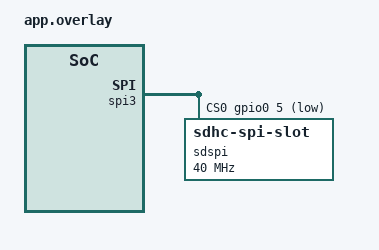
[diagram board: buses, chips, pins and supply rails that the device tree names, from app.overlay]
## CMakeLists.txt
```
cmake_minimum_required(VERSION 3.20.0)

find_package(Zephyr REQUIRED HINTS $ENV{ZEPHYR_BASE})
project(hlv_player_zephyr C)

target_sources(app PRIVATE src/main.c)
```

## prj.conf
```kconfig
# Run Zephyr as a two-core microkernel and allow explicit thread affinity.
CONFIG_SMP=y
CONFIG_MP_MAX_NUM_CPUS=2
CONFIG_SCHED_CPU_MASK=y
CONFIG_THREAD_NAME=y

# Zephyr's speed preset is -O2. The custom option is appended to every
# compilation unit, including the kernel, and deliberately raises it to -O3.
CONFIG_SPEED_OPTIMIZATIONS=y
CONFIG_COMPILER_OPT="-O3"

CONFIG_MAIN_STACK_SIZE=3072
CONFIG_SYSTEM_WORKQUEUE_STACK_SIZE=2048

CONFIG_CONSOLE=y
CONFIG_SERIAL=y
CONFIG_UART_CONSOLE=y
CONFIG_PRINTK=y
CONFIG_LOG=y
CONFIG_LOG_DEFAULT_LEVEL=3

CONFIG_GPIO=y
CONFIG_SPI=y
CONFIG_DISK_ACCESS=y
CONFIG_FILE_SYSTEM=y
CONFIG_FAT_FILESYSTEM_ELM=y
CONFIG_FS_FATFS_LFN=y
CONFIG_FS_FATFS_MAX_LFN=255

# The ESP32-2432S028 has no external PSRAM despite the DevKitC board model.
CONFIG_ESP_SPIRAM=n

# Keep the initial profile focused on scheduling, storage, decode and render.
CONFIG_WIFI=n
CONFIG_BT=n
```

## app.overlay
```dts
#include <zephyr/dt-bindings/gpio/gpio.h>

&i2c0 {
	status = "disabled";
};

&wifi {
	status = "disabled";
};

&esp32_bt_hci {
	status = "disabled";
};

/*
 * ESP32-2432S028 microSD connector:
 * SCK=18, MOSI=23, MISO=19 and CS=5. The DevKitC SPI3 pinctrl already
 * describes the three data pins; only the board-specific chip select is
 * supplied here.
 *
 * Zephyr's SD SPI stack sends CMD59 to enable card-side CRC, verifies CRC16
 * after every block read, and emits/checks CRC responses for block writes.
 */
&spi3 {
	status = "okay";
	cs-gpios = <&gpio0 5 GPIO_ACTIVE_LOW>;

	sdspi: sdhc@0 {
		compatible = "zephyr,sdhc-spi-slot";
		reg = <0>;
		status = "okay";
		spi-max-frequency = <40000000>;

		sdcard: mmc {
			compatible = "zephyr,sdmmc-disk";
			disk-name = "SD";
			status = "okay";
		};
	};
};
```

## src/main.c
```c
/*
 * Zephyr SMP bring-up for the ESP32-2432S028 HLV player.
 *
 * This intentionally starts with a small microkernel profile: a control/I/O
 * thread pinned to CPU0 and a future decoder thread pinned to CPU1. Threads
 * share the address space, while Zephyr owns preemption, affinity and IPC.
 */

#include <errno.h>
#include <stdint.h>
#include <string.h>

#include <ff.h>
#include <zephyr/fs/fs.h>
#include <zephyr/kernel.h>
#include <zephyr/storage/disk_access.h>
#include <zephyr/sys/atomic.h>

#define CONTROL_STACK_SIZE 4096
#define DECODER_STACK_SIZE 3072
#define CONTROL_PRIORITY 4
#define DECODER_PRIORITY 3
#define SD_DRIVE_NAME "SD"
#define SD_MOUNT_POINT "/SD:"

K_THREAD_STACK_DEFINE(control_stack, CONTROL_STACK_SIZE);
K_THREAD_STACK_DEFINE(decoder_stack, DECODER_STACK_SIZE);

static struct k_thread control_thread;
static struct k_thread decoder_thread;
static K_SEM_DEFINE(decoder_tick, 0, 1);
static atomic_t decoder_counter;
static atomic_t decoder_cpu = ATOMIC_INIT(-1);
static FATFS fat_fs;
static struct fs_mount_t sd_mount = {
	.type = FS_FATFS,
	.fs_data = &fat_fs,
	.storage_dev = (void *)SD_DRIVE_NAME,
	.mnt_point = SD_MOUNT_POINT,
};

static void print_play_list(void)
{
	struct fs_file_t file;
	char contents[160];
	ssize_t count;
	int result;

	fs_file_t_init(&file);
	result = fs_open(&file, SD_MOUNT_POINT "/play.txt", FS_O_READ);
	if (result != 0) {
		printk("HLVZ SD play.txt unavailable: %d\n", result);
		return;
	}

	count = fs_read(&file, contents, sizeof(contents) - 1U);
	if (count < 0) {
		printk("HLVZ SD play.txt read failed: %d\n", (int)count);
	} else {
		contents[count] = '\0';
		printk("HLVZ SD play.txt bytes=%d value=%s\n", (int)count,
		       contents);
	}
	(void)fs_close(&file);
}

static int mount_sd(void)
{
	uint32_t block_count = 0U;
	uint32_t block_size = 0U;
	uint64_t capacity_mib;
	int result;

	result = disk_access_ioctl(SD_DRIVE_NAME, DISK_IOCTL_CTRL_INIT, NULL);
	if (result != 0) {
		printk("HLVZ SD init failed: %d\n", result);
		return result;
	}
	result = disk_access_ioctl(SD_DRIVE_NAME, DISK_IOCTL_GET_SECTOR_COUNT,
				   &block_count);
	if (result != 0) {
		printk("HLVZ SD sector-count failed: %d\n", result);
		return result;
	}
	result = disk_access_ioctl(SD_DRIVE_NAME, DISK_IOCTL_GET_SECTOR_SIZE,
				   &block_size);
	if (result != 0) {
		printk("HLVZ SD sector-size failed: %d\n", result);
		return result;
	}

	result = fs_mount(&sd_mount);
	if (result != 0) {
		printk("HLVZ SD mount failed: %d\n", result);
		return result;
	}

	capacity_mib = ((uint64_t)block_count * block_size) >> 20;
	printk("HLVZ SD READY blocks=%u block_size=%u capacity_mib=%u\n",
	       block_count, block_size, (uint32_t)capacity_mib);
	printk("HLVZ SD CRC CMD59=ON READ_CRC16=VERIFY WRITE_CRC16=ON\n");
	print_play_list();
	return 0;
}

static void decoder_entry(void *first, void *second, void *third)
{
	uint32_t state = 0x2432A028U;

	ARG_UNUSED(first);
	ARG_UNUSED(second);
	ARG_UNUSED(third);

	atomic_set(&decoder_cpu, arch_curr_cpu()->id);
	for (;;) {
		/* Placeholder work keeps the CPU1 execution path observable. */
		for (uint32_t index = 0U; index < 4096U; ++index) {
			state = (state << 5) ^ (state >> 2) ^ index;
		}
		atomic_inc(&decoder_counter);
		k_sem_give(&decoder_tick);
		k_sleep(K_MSEC(50));
	}
}

static void control_entry(void *first, void *second, void *third)
{
	uint32_t last_report = 0U;
	int sd_result;

	ARG_UNUSED(first);
	ARG_UNUSED(second);
	ARG_UNUSED(third);

	printk("HLVZ BOOT Zephyr SMP cpus=%d control_cpu=%d decoder_cpu_target=1\n",
	       arch_num_cpus(), arch_curr_cpu()->id);
	sd_result = mount_sd();
	printk("HLVZ SERVICES audio=OFF uart=OFF display=OFF sd=%s\n",
	       sd_result == 0 ? "READY" : "ERROR");

	for (;;) {
		if (k_sem_take(&decoder_tick, K_SECONDS(2)) != 0) {
			printk("HLVZ IPC decoder timeout\n");
			continue;
		}
		const uint32_t current = (uint32_t)atomic_get(&decoder_counter);

		if (current - last_report >= 20U) {
			printk("HLVZ SMP control_cpu=%d decoder_cpu=%d ticks=%u\n",
			       arch_curr_cpu()->id, (int)atomic_get(&decoder_cpu),
			       current);
			last_report = current;
		}
	}
}

int main(void)
{
	k_tid_t control;
	k_tid_t decoder;
	int result;

	control = k_thread_create(&control_thread, control_stack,
				  K_THREAD_STACK_SIZEOF(control_stack), control_entry,
				  NULL, NULL, NULL, CONTROL_PRIORITY, 0, K_FOREVER);
	decoder = k_thread_create(&decoder_thread, decoder_stack,
				  K_THREAD_STACK_SIZEOF(decoder_stack), decoder_entry,
				  NULL, NULL, NULL, DECODER_PRIORITY, 0, K_FOREVER);
	k_thread_name_set(control, "hlv-control-cpu0");
	k_thread_name_set(decoder, "hlv-decoder-cpu1");

	result = k_thread_cpu_pin(control, 0);
	if (result != 0) {
		printk("HLVZ affinity control failed: %d\n", result);
		return result;
	}
	result = k_thread_cpu_pin(decoder, 1);
	if (result != 0) {
		printk("HLVZ affinity decoder failed: %d\n", result);
		return result;
	}

	k_thread_start(control);
	k_thread_start(decoder);
	return 0;
}
```
